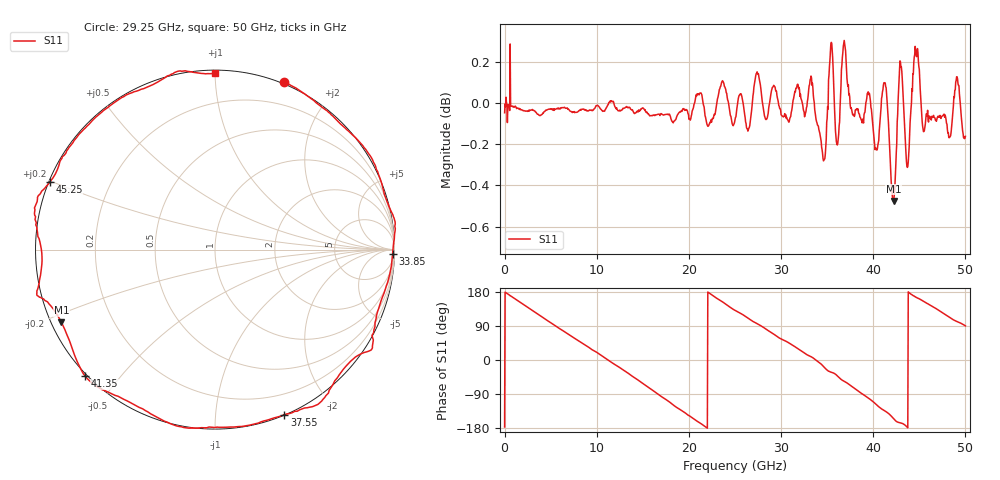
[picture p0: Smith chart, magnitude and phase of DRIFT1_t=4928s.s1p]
!Created with skrf (http://scikit-rf.org).
# Hz S RI R 50.0
!freq ReS11 ImS11
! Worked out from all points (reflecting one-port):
!   1001 points, 300 kHz to 50 GHz, reference 50 ohm
!   lowest |S11| = -0.5 dB at 42.2 GHz (marker M1), VSWR 36.51, Z = 1.44 - j11.2 ohm
!   phase of S11 starts at -177 deg and turns -813 deg over the sweep
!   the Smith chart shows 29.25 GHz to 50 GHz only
!   S11 on the Smith chart (normalised r, x): 29.25 GHz: -0.02, +1.50; 33.85 GHz: 32, -72; 37.55 GHz: 0.00, -1.50; 41.35 GHz: -0.01, -0.41; 45.25 GHz: 0.00, +0.20; 50 GHz: 0.02, +1.00
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300000  -0.9931 -0.0554
1.60029e9  -0.8931 0.4432
3.35028e9  -0.5706 0.8152
6.250262e9  0.1985 0.9776
9.500243e9  0.8874 0.4524
1.115023e10  0.9982 0.024
1.250022e10  0.9348 -0.3443
1.415022e10  0.6715 -0.7334
1.580021e10  0.2481 -0.9615
1.73502e10  -0.2041 -0.9724
1.875019e10  -0.59 -0.7992
2.160017e10  -0.9908 -0.1245
2.345016e10  -0.9255 0.4031
2.500015e10  -0.6478 0.7495
2.730014e10  -0.1268 1.009
2.925012e10  0.3867 0.9327
3.125011e10  0.7764 0.6296
3.38501e10  0.9895 -0.0229
3.520009e10  0.8822 -0.5039
3.750008e10  0.3971 -0.9166
3.755007e10  0.3863 -0.9192
3.945006e10  -0.173 -0.9914
4.135005e10  -0.7221 -0.7053
4.220005e10  -0.8558 -0.4047
4.375004e10  -0.965 -0.0194
4.525003e10  -0.9216 0.3746
4.770001e10  -0.5197 0.8472
5e10  -0.00194 0.9816
